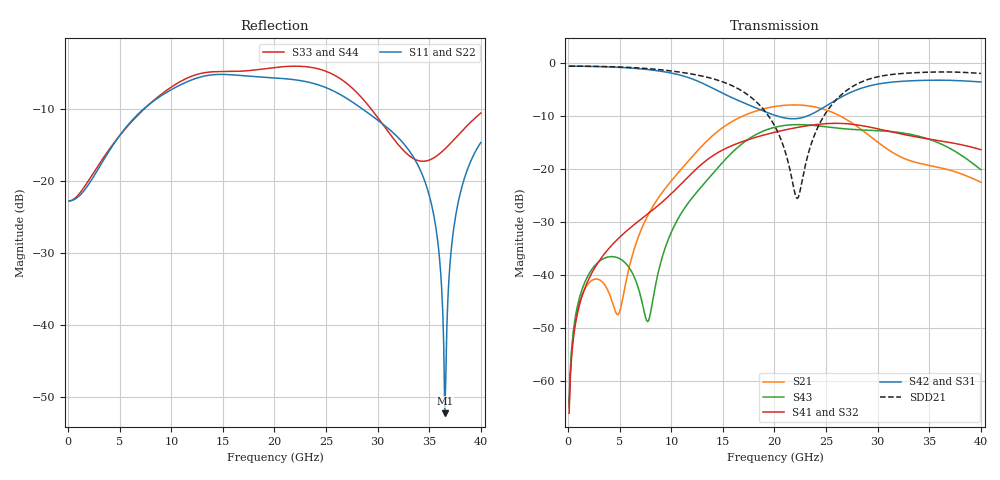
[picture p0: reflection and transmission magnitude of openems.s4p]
! E_s8_L1L3_p1200_round_g2: pair L1→L3, pitch 1.2 mm, two round antipads, 2 GND vias
! stackup: 8-layer 1.6 mm FR-4 (generic)
! ports: 1 P near, 2 N near, 3 P far, 4 N far
! openEMS 0.37.0, staircase, fine mesh (dfine 0.0175 mm), 1765764 cells
# Hz S RI R 50
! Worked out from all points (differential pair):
!   400 points, 100 MHz to 40 GHz, reference 50 ohm
!   strongest paths, dB at 100 MHz, 10.1 GHz, 20.1 GHz, 30.1 GHz, 40 GHz:
!     S42: -0.7, -2.0, -10.0, -4.0, -3.6
!     S31: -0.7, -2.0, -10.0, -4.0, -3.6
!     S41: -66.1, -24.5, -13.1, -12.5, -16.4
!     S32: -66.1, -24.5, -13.1, -12.5, -16.4
!     S43: -64.4, -31.6, -12.1, -12.8, -20.2
!     S21: -64.9, -22.1, -8.2, -15.1, -22.5
!   taken as a pair (ports 2,1 in; 4,3 out), SDD21 dB: -0.7, -1.6, -12.2, -2.6, -2.0
!   lowest |S11| = -52.3 dB at 36.5 GHz (marker M1), VSWR 1.00, Z = 49.9 + j0.2 ohm
!   |S11| at or under -10 dB: start of sweep to 7.354 GHz; 28.48 GHz to end of sweep
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1e8  -0.0723 -0.000793  0.000173 0.00054  0.9269 -0.0347  -1.43e-05 -0.000495
     0.000173 0.00054  -0.0723 -0.000793  -1.43e-05 -0.000495  0.9269 -0.0347
     0.9269 -0.0347  -1.73e-05 -0.000493  -0.0723 -0.00076  0.000168 0.00058
     -1.73e-05 -0.000493  0.9269 -0.0347  0.000168 0.00058  -0.0723 -0.00076
2.7e9  -0.1132 -0.01  0.00877 0.00246  0.4907 -0.7792  -0.0114 -0.00415
       0.00877 0.00246  -0.1132 -0.01  -0.0114 -0.00415  0.4907 -0.7792
       0.4908 -0.7791  -0.0114 -0.00415  -0.1203 0.00716  0.0103 0.00716
       -0.0114 -0.00415  0.4908 -0.7791  0.0103 0.00716  -0.1203 0.00716
7.8e9  -0.0577 0.3313  0.0339 0.0157  -0.842 -0.1714  0.011 0.0364
       0.0339 0.0157  -0.0577 0.3313  0.011 0.0364  -0.842 -0.1714
       -0.8425 -0.1716  0.011 0.0364  -0.0308 0.3343  0.0035 0.00119
       0.011 0.0364  -0.8425 -0.1716  0.0035 0.00119  -0.0308 0.3343
2.64e10  0.3425 0.1973  -0.3042 -0.0736  -0.2364 -0.4069  -0.2544 0.0842
         -0.3042 -0.0736  0.3425 0.1973  -0.2544 0.0842  -0.2364 -0.4069
         -0.2379 -0.4056  -0.2538 0.0852  0.4895 0.1397  -0.2263 0.0795
         -0.2538 0.0852  -0.2379 -0.4056  -0.2263 0.0795  0.4895 0.1397
3.47e10  -0.0764 -0.0531  0.1082 -0.0124  0.3326 0.5988  0.078 -0.1767
         0.1082 -0.0124  -0.0764 -0.0531  0.078 -0.1767  0.3326 0.5988
         0.3304 0.597  0.0779 -0.1759  -0.084 -0.1084  0.0545 -0.1856
         0.0779 -0.1759  0.3304 0.597  0.0545 -0.1856  -0.084 -0.1084
3.65e10  -0.00137 0.00201  0.0675 -0.0735  0.6319 0.2659  -0.0646 -0.1689
         0.0675 -0.0735  -0.00137 0.00201  -0.0646 -0.1689  0.6319 0.2659
         0.6288 0.267  -0.0639 -0.1684  -0.1566 -0.0541  -0.069 -0.1496
         -0.0639 -0.1684  0.6288 0.267  -0.069 -0.1496  -0.1566 -0.0541
4e10  -0.0127 -0.184  -0.0499 -0.0555  0.4256 -0.5006  -0.143 0.0483
      -0.0499 -0.0555  -0.0127 -0.184  -0.143 0.0483  0.4256 -0.5006
      0.4287 -0.4998  -0.1434 0.0479  -0.2069 0.2104  -0.0913 0.0351
      -0.1434 0.0479  0.4287 -0.4998  -0.0913 0.0351  -0.2069 0.2104
